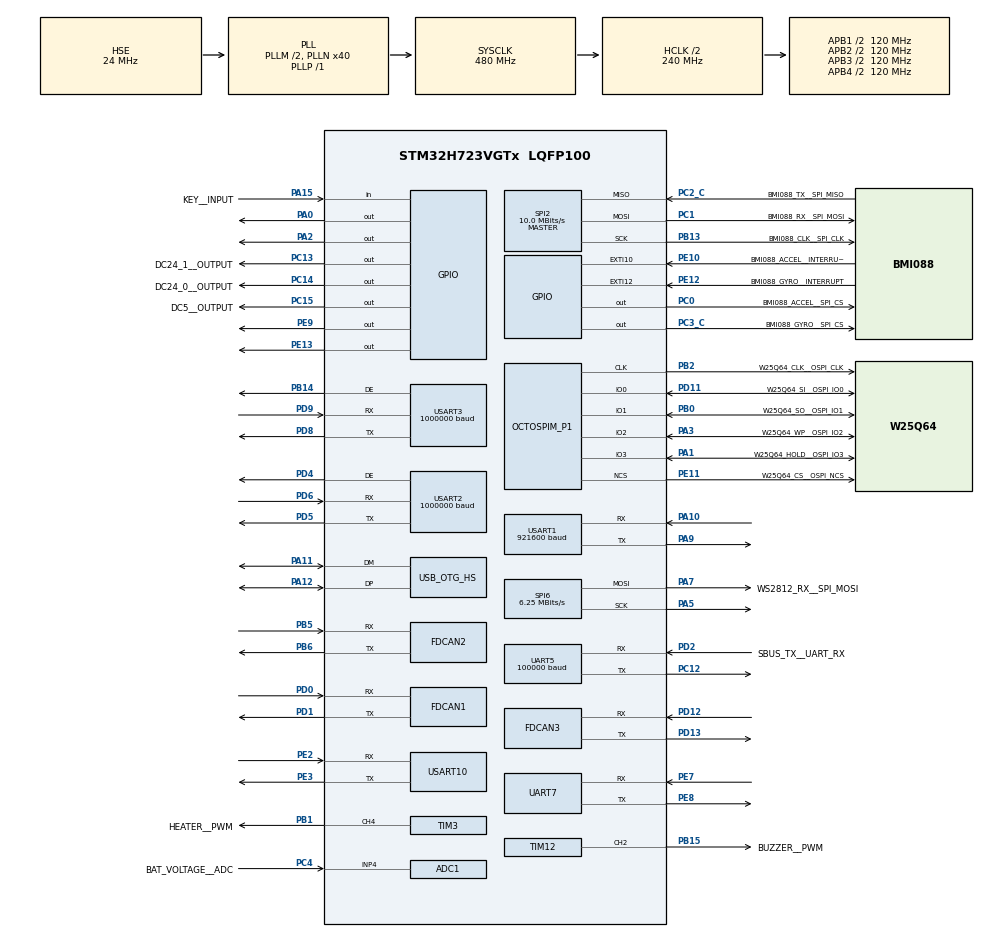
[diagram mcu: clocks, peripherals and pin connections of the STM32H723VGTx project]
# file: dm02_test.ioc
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ADC1.Channel-0\#ChannelRegularConversion=ADC_CHANNEL_4
ADC1.ClockPrescaler=ADC_CLOCK_ASYNC_DIV128
ADC1.ContinuousConvMode=ENABLE
ADC1.ConversionDataManagement=ADC_CONVERSIONDATA_DMA_CIRCULAR
ADC1.NbrOfConversion=1
ADC1.NbrOfConversionFlag=1
ADC1.OffsetNumber-0\#ChannelRegularConversion=ADC_OFFSET_NONE
ADC1.OffsetSignedSaturation-0\#ChannelRegularConversion=DISABLE
ADC1.Rank-0\#ChannelRegularConversion=1
ADC1.SamplingTime-0\#ChannelRegularConversion=ADC_SAMPLETIME_32CYCLES_5
ADC1.master=1
CORTEX_M7.BaseAddress_Spec=0x24000000
CORTEX_M7.CPU_DCache=Disabled
CORTEX_M7.CPU_ICache=Enabled
CORTEX_M7.DisableExec_Spec=MPU_INSTRUCTION_ACCESS_ENABLE
CORTEX_M7.IsBufferable_Spec=MPU_ACCESS_BUFFERABLE
CORTEX_M7.IsCacheable_Spec=MPU_ACCESS_CACHEABLE
CORTEX_M7.IsShareable_Spec=MPU_ACCESS_NOT_SHAREABLE
CORTEX_M7.MPU_Control=__NULL
CORTEX_M7.Size_Spec=MPU_REGION_SIZE_512KB
CORTEX_M7.SubRegionDisable_Spec=0x0
CORTEX_M7.TypeExtField_Spec=MPU_TEX_LEVEL1
CORTEX_M7.default_mode_Activation=1
Dma.ADC1.13.Direction=DMA_PERIPH_TO_MEMORY
Dma.ADC1.13.EventEnable=DISABLE
Dma.ADC1.13.FIFOMode=DMA_FIFOMODE_DISABLE
Dma.ADC1.13.Instance=DMA2_Stream5
Dma.ADC1.13.MemDataAlignment=DMA_MDATAALIGN_HALFWORD
Dma.ADC1.13.MemInc=DMA_MINC_ENABLE
Dma.ADC1.13.Mode=DMA_CIRCULAR
Dma.ADC1.13.PeriphDataAlignment=DMA_PDATAALIGN_HALFWORD
Dma.ADC1.13.PeriphInc=DMA_PINC_DISABLE
Dma.ADC1.13.Polarity=HAL_DMAMUX_REQ_GEN_RISING
Dma.ADC1.13.Priority=DMA_PRIORITY_LOW
Dma.ADC1.13.RequestNumber=1
Dma.ADC1.13.SignalID=NONE
Dma.ADC1.13.SyncEnable=DISABLE
Dma.ADC1.13.SyncPolarity=HAL_DMAMUX_SYNC_NO_EVENT
Dma.ADC1.13.SyncRequestNumber=1
Dma.ADC1.13.SyncSignalID=NONE
Dma.Request0=USART2_RX
Dma.Request1=USART2_TX
Dma.Request10=USART10_TX
Dma.Request11=SPI2_RX
Dma.Request12=SPI2_TX
Dma.Request13=ADC1
Dma.Request2=USART3_RX
Dma.Request3=USART3_TX
Dma.Request4=UART5_RX
Dma.Request5=USART1_RX
Dma.Request6=USART1_TX
Dma.Request7=UART7_RX
Dma.Request8=UART7_TX
Dma.Request9=USART10_RX
Dma.SPI2_RX.11.Direction=DMA_PERIPH_TO_MEMORY
Dma.SPI2_RX.11.EventEnable=DISABLE
Dma.SPI2_RX.11.FIFOMode=DMA_FIFOMODE_ENABLE
Dma.SPI2_RX.11.FIFOThreshold=DMA_FIFO_THRESHOLD_FULL
Dma.SPI2_RX.11.Instance=DMA2_Stream3
Dma.SPI2_RX.11.MemBurst=DMA_MBURST_SINGLE
Dma.SPI2_RX.11.MemDataAlignment=DMA_MDATAALIGN_BYTE
Dma.SPI2_RX.11.MemInc=DMA_MINC_ENABLE
Dma.SPI2_RX.11.Mode=DMA_NORMAL
Dma.SPI2_RX.11.PeriphBurst=DMA_PBURST_SINGLE
Dma.SPI2_RX.11.PeriphDataAlignment=DMA_PDATAALIGN_BYTE
Dma.SPI2_RX.11.PeriphInc=DMA_PINC_DISABLE
Dma.SPI2_RX.11.Polarity=HAL_DMAMUX_REQ_GEN_RISING
Dma.SPI2_RX.11.Priority=DMA_PRIORITY_LOW
Dma.SPI2_RX.11.RequestNumber=1
Dma.SPI2_RX.11.SignalID=NONE
Dma.SPI2_RX.11.SyncEnable=DISABLE
Dma.SPI2_RX.11.SyncPolarity=HAL_DMAMUX_SYNC_NO_EVENT
Dma.SPI2_RX.11.SyncRequestNumber=1
Dma.SPI2_RX.11.SyncSignalID=NONE
Dma.SPI2_TX.12.Direction=DMA_MEMORY_TO_PERIPH
Dma.SPI2_TX.12.EventEnable=DISABLE
Dma.SPI2_TX.12.FIFOMode=DMA_FIFOMODE_DISABLE
Dma.SPI2_TX.12.Instance=DMA2_Stream4
Dma.SPI2_TX.12.MemDataAlignment=DMA_MDATAALIGN_BYTE
Dma.SPI2_TX.12.MemInc=DMA_MINC_ENABLE
Dma.SPI2_TX.12.Mode=DMA_NORMAL
Dma.SPI2_TX.12.PeriphDataAlignment=DMA_PDATAALIGN_BYTE
Dma.SPI2_TX.12.PeriphInc=DMA_PINC_DISABLE
Dma.SPI2_TX.12.Polarity=HAL_DMAMUX_REQ_GEN_RISING
Dma.SPI2_TX.12.Priority=DMA_PRIORITY_LOW
Dma.SPI2_TX.12.RequestNumber=1
Dma.SPI2_TX.12.SignalID=NONE
Dma.SPI2_TX.12.SyncEnable=DISABLE
Dma.SPI2_TX.12.SyncPolarity=HAL_DMAMUX_SYNC_NO_EVENT
Dma.SPI2_TX.12.SyncRequestNumber=1
Dma.SPI2_TX.12.SyncSignalID=NONE
Dma.UART5_RX.4.Direction=DMA_PERIPH_TO_MEMORY
Dma.UART5_RX.4.EventEnable=DISABLE
Dma.UART5_RX.4.FIFOMode=DMA_FIFOMODE_ENABLE
Dma.UART5_RX.4.FIFOThreshold=DMA_FIFO_THRESHOLD_FULL
Dma.UART5_RX.4.Instance=DMA1_Stream4
Dma.UART5_RX.4.MemBurst=DMA_MBURST_SINGLE
Dma.UART5_RX.4.MemDataAlignment=DMA_MDATAALIGN_BYTE
Dma.UART5_RX.4.MemInc=DMA_MINC_ENABLE
Dma.UART5_RX.4.Mode=DMA_NORMAL
Dma.UART5_RX.4.PeriphBurst=DMA_PBURST_SINGLE
Dma.UART5_RX.4.PeriphDataAlignment=DMA_PDATAALIGN_BYTE
Dma.UART5_RX.4.PeriphInc=DMA_PINC_DISABLE
Dma.UART5_RX.4.Polarity=HAL_DMAMUX_REQ_GEN_RISING
Dma.UART5_RX.4.Priority=DMA_PRIORITY_LOW
Dma.UART5_RX.4.RequestNumber=1
Dma.UART5_RX.4.SignalID=NONE
Dma.UART5_RX.4.SyncEnable=DISABLE
Dma.UART5_RX.4.SyncPolarity=HAL_DMAMUX_SYNC_NO_EVENT
Dma.UART5_RX.4.SyncRequestNumber=1
Dma.UART5_RX.4.SyncSignalID=NONE
Dma.UART7_RX.7.Direction=DMA_PERIPH_TO_MEMORY
Dma.UART7_RX.7.EventEnable=DISABLE
Dma.UART7_RX.7.FIFOMode=DMA_FIFOMODE_ENABLE
Dma.UART7_RX.7.FIFOThreshold=DMA_FIFO_THRESHOLD_FULL
Dma.UART7_RX.7.Instance=DMA1_Stream7
Dma.UART7_RX.7.MemBurst=DMA_MBURST_SINGLE
Dma.UART7_RX.7.MemDataAlignment=DMA_MDATAALIGN_BYTE
Dma.UART7_RX.7.MemInc=DMA_MINC_ENABLE
Dma.UART7_RX.7.Mode=DMA_NORMAL
Dma.UART7_RX.7.PeriphBurst=DMA_PBURST_SINGLE
Dma.UART7_RX.7.PeriphDataAlignment=DMA_PDATAALIGN_BYTE
Dma.UART7_RX.7.PeriphInc=DMA_PINC_DISABLE
Dma.UART7_RX.7.Polarity=HAL_DMAMUX_REQ_GEN_RISING
Dma.UART7_RX.7.Priority=DMA_PRIORITY_LOW
Dma.UART7_RX.7.RequestNumber=1
Dma.UART7_RX.7.SignalID=NONE
Dma.UART7_RX.7.SyncEnable=DISABLE
Dma.UART7_RX.7.SyncPolarity=HAL_DMAMUX_SYNC_NO_EVENT
Dma.UART7_RX.7.SyncRequestNumber=1
Dma.UART7_RX.7.SyncSignalID=NONE
Dma.UART7_TX.8.Direction=DMA_MEMORY_TO_PERIPH
Dma.UART7_TX.8.EventEnable=DISABLE
Dma.UART7_TX.8.FIFOMode=DMA_FIFOMODE_ENABLE
Dma.UART7_TX.8.FIFOThreshold=DMA_FIFO_THRESHOLD_FULL
Dma.UART7_TX.8.Instance=DMA2_Stream0
Dma.UART7_TX.8.MemBurst=DMA_MBURST_SINGLE
Dma.UART7_TX.8.MemDataAlignment=DMA_MDATAALIGN_BYTE
Dma.UART7_TX.8.MemInc=DMA_MINC_ENABLE
Dma.UART7_TX.8.Mode=DMA_NORMAL
Dma.UART7_TX.8.PeriphBurst=DMA_PBURST_SINGLE
Dma.UART7_TX.8.PeriphDataAlignment=DMA_PDATAALIGN_BYTE
Dma.UART7_TX.8.PeriphInc=DMA_PINC_DISABLE
Dma.UART7_TX.8.Polarity=HAL_DMAMUX_REQ_GEN_RISING
Dma.UART7_TX.8.Priority=DMA_PRIORITY_LOW
Dma.UART7_TX.8.RequestNumber=1
Dma.UART7_TX.8.SignalID=NONE
Dma.UART7_TX.8.SyncEnable=DISABLE
Dma.UART7_TX.8.SyncPolarity=HAL_DMAMUX_SYNC_NO_EVENT
Dma.UART7_TX.8.SyncRequestNumber=1
Dma.UART7_TX.8.SyncSignalID=NONE
Dma.USART10_RX.9.Direction=DMA_PERIPH_TO_MEMORY
Dma.USART10_RX.9.EventEnable=DISABLE
Dma.USART10_RX.9.FIFOMode=DMA_FIFOMODE_DISABLE
Dma.USART10_RX.9.Instance=DMA2_Stream1
Dma.USART10_RX.9.MemDataAlignment=DMA_MDATAALIGN_BYTE
Dma.USART10_RX.9.MemInc=DMA_MINC_ENABLE
Dma.USART10_RX.9.Mode=DMA_NORMAL
Dma.USART10_RX.9.PeriphDataAlignment=DMA_PDATAALIGN_BYTE
Dma.USART10_RX.9.PeriphInc=DMA_PINC_DISABLE
Dma.USART10_RX.9.Polarity=HAL_DMAMUX_REQ_GEN_RISING
Dma.USART10_RX.9.Priority=DMA_PRIORITY_LOW
Dma.USART10_RX.9.RequestNumber=1
Dma.USART10_RX.9.SignalID=NONE
Dma.USART10_RX.9.SyncEnable=DISABLE
Dma.USART10_RX.9.SyncPolarity=HAL_DMAMUX_SYNC_NO_EVENT
Dma.USART10_RX.9.SyncRequestNumber=1
Dma.USART10_RX.9.SyncSignalID=NONE
Dma.USART10_TX.10.Direction=DMA_MEMORY_TO_PERIPH
Dma.USART10_TX.10.EventEnable=DISABLE
Dma.USART10_TX.10.FIFOMode=DMA_FIFOMODE_DISABLE
Dma.USART10_TX.10.Instance=DMA2_Stream2
Dma.USART10_TX.10.MemDataAlignment=DMA_MDATAALIGN_BYTE
Dma.USART10_TX.10.MemInc=DMA_MINC_ENABLE
Dma.USART10_TX.10.Mode=DMA_NORMAL
Dma.USART10_TX.10.PeriphDataAlignment=DMA_PDATAALIGN_BYTE
Dma.USART10_TX.10.PeriphInc=DMA_PINC_DISABLE
Dma.USART10_TX.10.Polarity=HAL_DMAMUX_REQ_GEN_RISING
Dma.USART10_TX.10.Priority=DMA_PRIORITY_LOW
Dma.USART10_TX.10.RequestNumber=1
Dma.USART10_TX.10.SignalID=NONE
Dma.USART10_TX.10.SyncEnable=DISABLE
Dma.USART10_TX.10.SyncPolarity=HAL_DMAMUX_SYNC_NO_EVENT
Dma.USART10_TX.10.SyncRequestNumber=1
Dma.USART10_TX.10.SyncSignalID=NONE
Dma.USART1_RX.5.Direction=DMA_PERIPH_TO_MEMORY
Dma.USART1_RX.5.EventEnable=DISABLE
Dma.USART1_RX.5.FIFOMode=DMA_FIFOMODE_ENABLE
Dma.USART1_RX.5.FIFOThreshold=DMA_FIFO_THRESHOLD_FULL
Dma.USART1_RX.5.Instance=DMA1_Stream5
Dma.USART1_RX.5.MemBurst=DMA_MBURST_SINGLE
Dma.USART1_RX.5.MemDataAlignment=DMA_MDATAALIGN_BYTE
Dma.USART1_RX.5.MemInc=DMA_MINC_ENABLE
Dma.USART1_RX.5.Mode=DMA_NORMAL
Dma.USART1_RX.5.PeriphBurst=DMA_PBURST_SINGLE
Dma.USART1_RX.5.PeriphDataAlignment=DMA_PDATAALIGN_BYTE
Dma.USART1_RX.5.PeriphInc=DMA_PINC_DISABLE
Dma.USART1_RX.5.Polarity=HAL_DMAMUX_REQ_GEN_RISING
Dma.USART1_RX.5.Priority=DMA_PRIORITY_LOW
Dma.USART1_RX.5.RequestNumber=1
Dma.USART1_RX.5.SignalID=NONE
Dma.USART1_RX.5.SyncEnable=DISABLE
Dma.USART1_RX.5.SyncPolarity=HAL_DMAMUX_SYNC_NO_EVENT
Dma.USART1_RX.5.SyncRequestNumber=1
Dma.USART1_RX.5.SyncSignalID=NONE
Dma.USART1_TX.6.Direction=DMA_MEMORY_TO_PERIPH
Dma.USART1_TX.6.EventEnable=DISABLE
Dma.USART1_TX.6.FIFOMode=DMA_FIFOMODE_ENABLE
Dma.USART1_TX.6.FIFOThreshold=DMA_FIFO_THRESHOLD_FULL
Dma.USART1_TX.6.Instance=DMA1_Stream6
Dma.USART1_TX.6.MemBurst=DMA_MBURST_SINGLE
Dma.USART1_TX.6.MemDataAlignment=DMA_MDATAALIGN_BYTE
Dma.USART1_TX.6.MemInc=DMA_MINC_ENABLE
Dma.USART1_TX.6.Mode=DMA_NORMAL
Dma.USART1_TX.6.PeriphBurst=DMA_PBURST_SINGLE
Dma.USART1_TX.6.PeriphDataAlignment=DMA_PDATAALIGN_BYTE
Dma.USART1_TX.6.PeriphInc=DMA_PINC_DISABLE
Dma.USART1_TX.6.Polarity=HAL_DMAMUX_REQ_GEN_RISING
Dma.USART1_TX.6.Priority=DMA_PRIORITY_LOW
Dma.USART1_TX.6.RequestNumber=1
Dma.USART1_TX.6.SignalID=NONE
Dma.USART1_TX.6.SyncEnable=DISABLE
Dma.USART1_TX.6.SyncPolarity=HAL_DMAMUX_SYNC_NO_EVENT
Dma.USART1_TX.6.SyncRequestNumber=1
Dma.USART1_TX.6.SyncSignalID=NONE
Dma.USART2_RX.0.Direction=DMA_PERIPH_TO_MEMORY
Dma.USART2_RX.0.EventEnable=DISABLE
Dma.USART2_RX.0.FIFOMode=DMA_FIFOMODE_ENABLE
Dma.USART2_RX.0.FIFOThreshold=DMA_FIFO_THRESHOLD_FULL
Dma.USART2_RX.0.Instance=DMA1_Stream1
Dma.USART2_RX.0.MemBurst=DMA_MBURST_SINGLE
Dma.USART2_RX.0.MemDataAlignment=DMA_MDATAALIGN_BYTE
Dma.USART2_RX.0.MemInc=DMA_MINC_ENABLE
Dma.USART2_RX.0.Mode=DMA_NORMAL
Dma.USART2_RX.0.PeriphBurst=DMA_PBURST_SINGLE
Dma.USART2_RX.0.PeriphDataAlignment=DMA_PDATAALIGN_BYTE
Dma.USART2_RX.0.PeriphInc=DMA_PINC_DISABLE
Dma.USART2_RX.0.Polarity=HAL_DMAMUX_REQ_GEN_RISING
Dma.USART2_RX.0.Priority=DMA_PRIORITY_LOW
Dma.USART2_RX.0.RequestNumber=1
Dma.USART2_RX.0.SignalID=NONE
Dma.USART2_RX.0.SyncEnable=DISABLE
Dma.USART2_RX.0.SyncPolarity=HAL_DMAMUX_SYNC_NO_EVENT
Dma.USART2_RX.0.SyncRequestNumber=1
Dma.USART2_RX.0.SyncSignalID=NONE
Dma.USART2_TX.1.Direction=DMA_MEMORY_TO_PERIPH
Dma.USART2_TX.1.EventEnable=DISABLE
Dma.USART2_TX.1.FIFOMode=DMA_FIFOMODE_ENABLE
Dma.USART2_TX.1.FIFOThreshold=DMA_FIFO_THRESHOLD_FULL
Dma.USART2_TX.1.Instance=DMA1_Stream0
Dma.USART2_TX.1.MemBurst=DMA_MBURST_SINGLE
Dma.USART2_TX.1.MemDataAlignment=DMA_MDATAALIGN_BYTE
Dma.USART2_TX.1.MemInc=DMA_MINC_ENABLE
Dma.USART2_TX.1.Mode=DMA_NORMAL
Dma.USART2_TX.1.PeriphBurst=DMA_PBURST_SINGLE
Dma.USART2_TX.1.PeriphDataAlignment=DMA_PDATAALIGN_BYTE
Dma.USART2_TX.1.PeriphInc=DMA_PINC_DISABLE
Dma.USART2_TX.1.Polarity=HAL_DMAMUX_REQ_GEN_RISING
Dma.USART2_TX.1.Priority=DMA_PRIORITY_LOW
Dma.USART2_TX.1.RequestNumber=1
Dma.USART2_TX.1.SignalID=NONE
Dma.USART2_TX.1.SyncEnable=DISABLE
Dma.USART2_TX.1.SyncPolarity=HAL_DMAMUX_SYNC_NO_EVENT
Dma.USART2_TX.1.SyncRequestNumber=1
Dma.USART2_TX.1.SyncSignalID=NONE
Dma.USART3_RX.2.Direction=DMA_PERIPH_TO_MEMORY
Dma.USART3_RX.2.EventEnable=DISABLE
Dma.USART3_RX.2.FIFOMode=DMA_FIFOMODE_ENABLE
Dma.USART3_RX.2.FIFOThreshold=DMA_FIFO_THRESHOLD_FULL
Dma.USART3_RX.2.Instance=DMA1_Stream2
Dma.USART3_RX.2.MemBurst=DMA_MBURST_SINGLE
Dma.USART3_RX.2.MemDataAlignment=DMA_MDATAALIGN_BYTE
Dma.USART3_RX.2.MemInc=DMA_MINC_ENABLE
Dma.USART3_RX.2.Mode=DMA_NORMAL
Dma.USART3_RX.2.PeriphBurst=DMA_PBURST_SINGLE
Dma.USART3_RX.2.PeriphDataAlignment=DMA_PDATAALIGN_BYTE
Dma.USART3_RX.2.PeriphInc=DMA_PINC_DISABLE
Dma.USART3_RX.2.Polarity=HAL_DMAMUX_REQ_GEN_RISING
Dma.USART3_RX.2.Priority=DMA_PRIORITY_LOW
Dma.USART3_RX.2.RequestNumber=1
Dma.USART3_RX.2.SignalID=NONE
Dma.USART3_RX.2.SyncEnable=DISABLE
Dma.USART3_RX.2.SyncPolarity=HAL_DMAMUX_SYNC_NO_EVENT
Dma.USART3_RX.2.SyncRequestNumber=1
Dma.USART3_RX.2.SyncSignalID=NONE
Dma.USART3_TX.3.Direction=DMA_MEMORY_TO_PERIPH
Dma.USART3_TX.3.EventEnable=DISABLE
Dma.USART3_TX.3.FIFOMode=DMA_FIFOMODE_ENABLE
Dma.USART3_TX.3.FIFOThreshold=DMA_FIFO_THRESHOLD_FULL
Dma.USART3_TX.3.Instance=DMA1_Stream3
Dma.USART3_TX.3.MemBurst=DMA_MBURST_SINGLE
Dma.USART3_TX.3.MemDataAlignment=DMA_MDATAALIGN_BYTE
Dma.USART3_TX.3.MemInc=DMA_MINC_ENABLE
Dma.USART3_TX.3.Mode=DMA_NORMAL
Dma.USART3_TX.3.PeriphBurst=DMA_PBURST_SINGLE
Dma.USART3_TX.3.PeriphDataAlignment=DMA_PDATAALIGN_BYTE
Dma.USART3_TX.3.PeriphInc=DMA_PINC_DISABLE
Dma.USART3_TX.3.Polarity=HAL_DMAMUX_REQ_GEN_RISING
Dma.USART3_TX.3.Priority=DMA_PRIORITY_LOW
Dma.USART3_TX.3.RequestNumber=1
Dma.USART3_TX.3.SignalID=NONE
Dma.USART3_TX.3.SyncEnable=DISABLE
Dma.USART3_TX.3.SyncPolarity=HAL_DMAMUX_SYNC_NO_EVENT
Dma.USART3_TX.3.SyncRequestNumber=1
Dma.USART3_TX.3.SyncSignalID=NONE
FDCAN1.AutoRetransmission=ENABLE
FDCAN1.CalculateBaudRateNominal=1000000
FDCAN1.CalculateTimeBitNominal=1000
FDCAN1.CalculateTimeQuantumNominal=25.0
FDCAN1.DataPrescaler=3
FDCAN1.DataSyncJumpWidth=10
FDCAN1.DataTimeSeg1=29
FDCAN1.DataTimeSeg2=10
FDCAN1.NominalPrescaler=3
FDCAN1.NominalSyncJumpWidth=10
FDCAN1.NominalTimeSeg1=29
FDCAN1.NominalTimeSeg2=10
FDCAN1.ProtocolException=DISABLE
FDCAN1.RxFifo0ElmtsNbr=16
FDCAN1.RxFifo1ElmtsNbr=0
FDCAN1.StdFiltersNbr=1
FDCAN1.TxFifoQueueElmtsNbr=8
FDCAN2.AutoRetransmission=ENABLE
FDCAN2.CalculateBaudRateNominal=1000000
FDCAN2.CalculateTimeBitNominal=1000
FDCAN2.CalculateTimeQuantumNominal=25.0
FDCAN2.DataPrescaler=3
FDCAN2.DataSyncJumpWidth=10
FDCAN2.DataTimeSeg1=29
FDCAN2.DataTimeSeg2=10
FDCAN2.MessageRAMOffset=853
FDCAN2.NominalPrescaler=3
FDCAN2.NominalSyncJumpWidth=10
FDCAN2.NominalTimeSeg1=29
FDCAN2.NominalTimeSeg2=10
FDCAN2.RxFifo0ElmtsNbr=16
FDCAN2.RxFifo1ElmtsNbr=0
FDCAN2.StdFiltersNbr=1
FDCAN2.TxFifoQueueElmtsNbr=8
FDCAN3.AutoRetransmission=ENABLE
FDCAN3.CalculateBaudRateNominal=1000000
FDCAN3.CalculateTimeBitNominal=1000
FDCAN3.CalculateTimeQuantumNominal=25.0
FDCAN3.DataPrescaler=3
FDCAN3.DataSyncJumpWidth=10
FDCAN3.DataTimeSeg1=29
FDCAN3.DataTimeSeg2=10
FDCAN3.MessageRAMOffset=1706
FDCAN3.NominalPrescaler=3
FDCAN3.NominalSyncJumpWidth=10
FDCAN3.NominalTimeSeg1=29
FDCAN3.NominalTimeSeg2=10
FDCAN3.RxFifo0ElmtsNbr=16
FDCAN3.RxFifo1ElmtsNbr=0
FDCAN3.StdFiltersNbr=1
FDCAN3.TxFifoQueueElmtsNbr=8
FREERTOS.Tasks01=MAVLinkTask,24,512,StartMAVLinkTask,Default,NULL,Dynamic,NULL,NULL;ClimbingTask,24,512,StartTaskClimbing,Default,NULL,Dynamic,NULL,NULL;DrawKFSTask,24,512,StartTaskDrawKFS,Default,NULL,Dynamic,NULL,NULL;ClampingTask,24,128,StartTaskClamping,Default,NULL,Dynamic,NULL,NULL;ChassisTask,24,512,StartTaskChassis,Default,NULL,Dynamic,NULL,NULL
IWDG1.Prescaler=IWDG_PRESCALER_256
IWDG1.Reload=1023
IWDG1.Window=1023
Mcu.Family=STM32H7
Mcu.Name=STM32H723VGTx
Mcu.Package=LQFP100
Mdma.MDMA_Channel0.OCTOSPI2_FIFO_TH.0.BlockCount=0
Mdma.MDMA_Channel0.OCTOSPI2_FIFO_TH.0.BlockDataLength=0
Mdma.MDMA_Channel0.OCTOSPI2_FIFO_TH.0.BufferTransferLength=1
Mdma.MDMA_Channel0.OCTOSPI2_FIFO_TH.0.CircularMode=MDMA_LINEAR_LIST
Mdma.MDMA_Channel0.OCTOSPI2_FIFO_TH.0.DataAlignment=MDMA_DATAALIGN_PACKENABLE
Mdma.MDMA_Channel0.OCTOSPI2_FIFO_TH.0.DestBlockAddressOffset=0
Mdma.MDMA_Channel0.OCTOSPI2_FIFO_TH.0.DestBurst=MDMA_DEST_BURST_SINGLE
Mdma.MDMA_Channel0.OCTOSPI2_FIFO_TH.0.DestDataSize=MDMA_DEST_DATASIZE_BYTE
Mdma.MDMA_Channel0.OCTOSPI2_FIFO_TH.0.DestinationInc=MDMA_DEST_INC_BYTE
Mdma.MDMA_Channel0.OCTOSPI2_FIFO_TH.0.DstAddress=0
Mdma.MDMA_Channel0.OCTOSPI2_FIFO_TH.0.Endianness=MDMA_LITTLE_ENDIANNESS_PRESERVE
Mdma.MDMA_Channel0.OCTOSPI2_FIFO_TH.0.Instance=MDMA_Channel0
Mdma.MDMA_Channel0.OCTOSPI2_FIFO_TH.0.MaskAddress=0
Mdma.MDMA_Channel0.OCTOSPI2_FIFO_TH.0.MaskData=0
Mdma.MDMA_Channel0.OCTOSPI2_FIFO_TH.0.Priority=MDMA_PRIORITY_LOW
Mdma.MDMA_Channel0.OCTOSPI2_FIFO_TH.0.Rank=First
Mdma.MDMA_Channel0.OCTOSPI2_FIFO_TH.0.SourceBlockAddressOffset=0
Mdma.MDMA_Channel0.OCTOSPI2_FIFO_TH.0.SourceBurst=MDMA_SOURCE_BURST_SINGLE
Mdma.MDMA_Channel0.OCTOSPI2_FIFO_TH.0.SourceDataSize=MDMA_SRC_DATASIZE_BYTE
Mdma.MDMA_Channel0.OCTOSPI2_FIFO_TH.0.SourceInc=MDMA_SRC_INC_BYTE
Mdma.MDMA_Channel0.OCTOSPI2_FIFO_TH.0.SrcAddress=0
Mdma.MDMA_Channel0.OCTOSPI2_FIFO_TH.0.TransferTriggerMode=MDMA_BUFFER_TRANSFER
Mdma.MDMA_Channel0.Request0=OCTOSPI2_FIFO_TH
Mdma.MDMA_Channel0.RequestsNb=1
Mdma.RequestSet0=MDMA_Channel0
Mdma.RequestSetsNb=1
NVIC.DMA1_Stream0_IRQn=true\:5\:0\:false\:false\:true\:true\:false\:true\:true
NVIC.DMA1_Stream1_IRQn=true\:5\:0\:false\:false\:true\:true\:false\:true\:true
NVIC.DMA1_Stream2_IRQn=true\:5\:0\:false\:false\:true\:true\:false\:true\:true
NVIC.DMA1_Stream3_IRQn=true\:5\:0\:false\:false\:true\:true\:false\:true\:true
NVIC.DMA1_Stream4_IRQn=true\:5\:0\:false\:false\:true\:true\:false\:true\:true
NVIC.DMA1_Stream5_IRQn=true\:5\:0\:false\:false\:true\:true\:false\:true\:true
NVIC.DMA1_Stream6_IRQn=true\:5\:0\:false\:false\:true\:true\:false\:true\:true
NVIC.DMA1_Stream7_IRQn=true\:5\:0\:false\:false\:true\:true\:false\:true\:true
NVIC.DMA2_Stream0_IRQn=true\:5\:0\:false\:false\:true\:true\:false\:true\:true
NVIC.DMA2_Stream1_IRQn=true\:5\:0\:false\:false\:true\:true\:false\:true\:true
NVIC.DMA2_Stream2_IRQn=true\:5\:0\:false\:false\:true\:true\:false\:true\:true
NVIC.DMA2_Stream3_IRQn=true\:5\:0\:false\:false\:true\:true\:false\:true\:true
NVIC.DMA2_Stream4_IRQn=true\:5\:0\:false\:false\:true\:true\:false\:true\:true
NVIC.DMA2_Stream5_IRQn=true\:5\:0\:false\:false\:true\:true\:false\:true\:true
NVIC.EXTI15_10_IRQn=true\:5\:0\:true\:false\:true\:true\:true\:true\:true
NVIC.FDCAN1_IT0_IRQn=true\:5\:0\:false\:false\:true\:true\:true\:true\:true
NVIC.FDCAN1_IT1_IRQn=true\:5\:0\:false\:false\:true\:true\:true\:true\:true
NVIC.FDCAN2_IT0_IRQn=true\:5\:0\:false\:false\:true\:true\:true\:true\:true
NVIC.FDCAN2_IT1_IRQn=true\:5\:0\:false\:false\:true\:true\:true\:true\:true
NVIC.FDCAN3_IT0_IRQn=true\:5\:0\:false\:false\:true\:true\:true\:true\:true
NVIC.FDCAN3_IT1_IRQn=true\:5\:0\:false\:false\:true\:true\:true\:true\:true
NVIC.MDMA_IRQn=true\:5\:0\:false\:false\:true\:true\:false\:true\:true
NVIC.OCTOSPI2_IRQn=true\:5\:0\:false\:false\:true\:true\:true\:true\:true
NVIC.OTG_HS_IRQn=true\:5\:0\:false\:false\:true\:true\:false\:true\:true
NVIC.PriorityGroup=NVIC_PRIORITYGROUP_4
NVIC.SPI2_IRQn=true\:5\:0\:false\:false\:true\:true\:false\:true\:true
NVIC.TIM4_IRQn=true\:5\:0\:true\:false\:true\:true\:true\:true\:true
NVIC.TIM5_IRQn=true\:5\:0\:true\:false\:true\:true\:true\:true\:true
NVIC.TIM6_DAC_IRQn=true\:5\:0\:true\:false\:true\:true\:true\:true\:true
NVIC.TIM7_IRQn=true\:5\:0\:true\:false\:true\:true\:true\:true\:true
NVIC.TIM8_UP_TIM13_IRQn=true\:5\:0\:true\:false\:true\:true\:true\:true\:true
NVIC.UART5_IRQn=true\:5\:0\:true\:false\:true\:true\:true\:true\:true
NVIC.UART7_IRQn=true\:5\:0\:true\:false\:true\:true\:true\:true\:true
NVIC.USART10_IRQn=true\:0\:0\:true\:false\:true\:true\:true\:true\:true
NVIC.USART1_IRQn=true\:5\:0\:true\:false\:true\:true\:true\:true\:true
NVIC.USART2_IRQn=true\:5\:0\:true\:false\:true\:true\:true\:true\:true
NVIC.USART3_IRQn=true\:5\:0\:true\:false\:true\:true\:true\:true\:true
OCTOSPI2.ClockMode=HAL_OSPI_CLOCK_MODE_3
OCTOSPI2.ClockPrescaler=2
OCTOSPI2.DeviceSize=23
OCTOSPI2.FifoThreshold=1
OCTOSPI2.SampleShifting=HAL_OSPI_SAMPLE_SHIFTING_HALFCYCLE
PA0.Signal=GPIO_Output
PA1.GPIO_Label=W25Q64_HOLD__OSPI_IO3
PA1.Mode=OCTOSPI2_IOL_Port1L
PA1.Signal=OCTOSPIM_P1_IO3
PA10.Mode=Asynchronous
PA10.Signal=USART1_RX
PA11.Mode=Device_Only_FS
PA11.Signal=USB_OTG_HS_DM
PA12.Mode=Device_Only_FS
PA12.Signal=USB_OTG_HS_DP
PA13(JTMS/SWDIO).Mode=Serial_Wire
PA13(JTMS/SWDIO).Signal=DEBUG_JTMS-SWDIO
PA14(JTCK/SWCLK).Mode=Serial_Wire
PA14(JTCK/SWCLK).Signal=DEBUG_JTCK-SWCLK
PA15(JTDI).GPIO_Label=KEY__INPUT
PA15(JTDI).Signal=GPIO_Input
PA2.Signal=GPIO_Output
PA3.GPIO_Label=W25Q64_WP__OSPI_IO2
PA3.Mode=OCTOSPI2_IOL_Port1L
PA3.Signal=OCTOSPIM_P1_IO2
PA5.GPIO_Speed=GPIO_SPEED_FREQ_VERY_HIGH
PA5.Mode=TX_Only_Simplex_Unidirect_Master
PA5.Signal=SPI6_SCK
PA7.GPIO_Label=WS2812_RX__SPI_MOSI
PA7.GPIO_Speed=GPIO_SPEED_FREQ_VERY_HIGH
PA7.Mode=TX_Only_Simplex_Unidirect_Master
PA7.Signal=SPI6_MOSI
PA9.Mode=Asynchronous
PA9.Signal=USART1_TX
PB0.GPIO_Label=W25Q64_SO__OSPI_IO1
PB0.Mode=OCTOSPI2_IOL_Port1L
PB0.Signal=OCTOSPIM_P1_IO1
PB1.GPIO_Label=HEATER__PWM
PB1.Signal=S_TIM3_CH4
PB13.GPIO_Label=BMI088_CLK__SPI_CLK
PB13.GPIO_Speed=GPIO_SPEED_FREQ_VERY_HIGH
PB13.Mode=Full_Duplex_Master
PB13.Signal=SPI2_SCK
PB14.Mode=Hardware Flow Control (RS485)
PB14.Signal=USART3_DE
PB15.GPIO_Label=BUZZER__PWM
PB15.Signal=S_TIM12_CH2
PB2.GPIO_Label=W25Q64_CLK__OSPI_CLK
PB2.Mode=O2_P1_CLK
PB2.Signal=OCTOSPIM_P1_CLK
PB5.Mode=FDCAN_Activate
PB5.Signal=FDCAN2_RX
PB6.Mode=FDCAN_Activate
PB6.Signal=FDCAN2_TX
PC0.GPIO_Label=BMI088_ACCEL__SPI_CS
PC0.GPIO_Speed=GPIO_SPEED_FREQ_VERY_HIGH
PC0.PinState=GPIO_PIN_SET
PC0.Signal=GPIO_Output
PC1.GPIO_Label=BMI088_RX__SPI_MOSI
PC1.GPIO_Speed=GPIO_SPEED_FREQ_VERY_HIGH
PC1.Mode=Full_Duplex_Master
PC1.Signal=SPI2_MOSI
PC12.Mode=Asynchronous
PC12.Signal=UART5_TX
PC13.GPIO_Label=DC24_1__OUTPUT
PC13.PinState=GPIO_PIN_RESET
PC13.Signal=GPIO_Output
PC14-OSC32_IN.GPIO_Label=DC24_0__OUTPUT
PC14-OSC32_IN.Signal=GPIO_Output
PC15-OSC32_OUT.GPIO_Label=DC5__OUTPUT
PC15-OSC32_OUT.PinState=GPIO_PIN_RESET
PC15-OSC32_OUT.Signal=GPIO_Output
PC2_C.GPIO_Label=BMI088_TX__SPI_MISO
PC2_C.GPIO_Speed=GPIO_SPEED_FREQ_VERY_HIGH
PC2_C.Mode=Full_Duplex_Master
PC2_C.Signal=SPI2_MISO
PC3_C.GPIO_Label=BMI088_GYRO__SPI_CS
PC3_C.GPIO_Speed=GPIO_SPEED_FREQ_VERY_HIGH
PC3_C.PinState=GPIO_PIN_SET
PC3_C.Signal=GPIO_Output
PC4.GPIO_Label=BAT_VOLTAGE__ADC
PC4.Signal=ADCx_INP4
PD0.Mode=FDCAN_Activate
PD0.Signal=FDCAN1_RX
PD1.Mode=FDCAN_Activate
PD1.Signal=FDCAN1_TX
PD11.GPIO_Label=W25Q64_SI__OSPI_IO0
PD11.Mode=OCTOSPI2_IOL_Port1L
PD11.Signal=OCTOSPIM_P1_IO0
PD12.Mode=FDCAN_Activate
PD12.Signal=FDCAN3_RX
PD13.Mode=FDCAN_Activate
PD13.Signal=FDCAN3_TX
PD2.GPIO_Label=SBUS_TX__UART_RX
PD2.Mode=Asynchronous
PD2.Signal=UART5_RX
PD4.Mode=Hardware Flow Control (RS485)
PD4.Signal=USART2_DE
PD5.Mode=Asynchronous
PD5.Signal=USART2_TX
PD6.Mode=Asynchronous
PD6.Signal=USART2_RX
PD8.Mode=Asynchronous
PD8.Signal=USART3_TX
PD9.Mode=Asynchronous
PD9.Signal=USART3_RX
PE10.GPIO_Label=BMI088_ACCEL__INTERRUPT
PE10.Signal=GPXTI10
PE11.GPIO_Label=W25Q64_CS__OSPI_NCS
PE11.Mode=OCTOSPI2_Port1_NCS
PE11.Signal=OCTOSPIM_P1_NCS
PE12.GPIO_Label=BMI088_GYRO__INTERRUPT
PE12.Signal=GPXTI12
PE13.Signal=GPIO_Output
PE2.Mode=Asynchronous
PE2.Signal=USART10_RX
PE3.Mode=Asynchronous
PE3.Signal=USART10_TX
PE7.Mode=Asynchronous
PE7.Signal=UART7_RX
PE8.Mode=Asynchronous
PE8.Signal=UART7_TX
PE9.Signal=GPIO_Output
PH0-OSC_IN.Mode=HSE-External-Oscillator
PH0-OSC_IN.Signal=RCC_OSC_IN
PH1-OSC_OUT.Mode=HSE-External-Oscillator
PH1-OSC_OUT.Signal=RCC_OSC_OUT
ProjectManager.HeapSize=0x4000
ProjectManager.StackSize=0x8000
ProjectManager.TargetToolchain=CMake
RCC.ADCCLockSelection=RCC_ADCCLKSOURCE_CLKP
RCC.ADCFreq_Value=24000000
RCC.APB1Freq_Value=120000000
RCC.APB2Freq_Value=120000000
RCC.APB3Freq_Value=120000000
RCC.APB4Freq_Value=120000000
RCC.CKPERSourceSelection=RCC_CLKPSOURCE_HSE
RCC.CortexFreq_Value=480000000
RCC.D1PPRE=RCC_APB3_DIV2
RCC.D2PPRE1=RCC_APB1_DIV2
RCC.D2PPRE2=RCC_APB2_DIV2
RCC.D3PPRE=RCC_APB4_DIV2
RCC.DIVM1=2
RCC.DIVM2=12
RCC.DIVM3=24
RCC.DIVN1=40
RCC.DIVN2=100
RCC.DIVN3=160
RCC.DIVP1=1
RCC.DIVQ1=4
RCC.DIVQ2=4
RCC.HCLKFreq_Value=240000000
RCC.HPRE=RCC_HCLK_DIV2
RCC.HSE_VALUE=24000000
RCC.PLL2FRACN=0
RCC.PLLFRACN=0
RCC.PLLSourceVirtual=RCC_PLLSOURCE_HSE
RCC.SPI123CLockSelection=RCC_SPI123CLKSOURCE_PLL3
RCC.SPI6CLockSelection=RCC_SPI6CLKSOURCE_PLL2
RCC.SYSCLKFreq_VALUE=480000000
RCC.SYSCLKSource=RCC_SYSCLKSOURCE_PLLCLK
RCC.USBCLockSelection=RCC_USBCLKSOURCE_HSI48
RCC.USBFreq_Value=48000000
SH.ADCx_INP4.0=ADC1_INP4,IN4-Single-Ended
SH.S_TIM12_CH2.0=TIM12_CH2,PWM Generation2 CH2
SH.S_TIM3_CH4.0=TIM3_CH4,PWM Generation4 CH4
SPI2.BaudRatePrescaler=SPI_BAUDRATEPRESCALER_8
SPI2.CLKPhase=SPI_PHASE_2EDGE
SPI2.CLKPolarity=SPI_POLARITY_HIGH
SPI2.CalculateBaudRate=10.0 MBits/s
SPI2.DataSize=SPI_DATASIZE_8BIT
SPI2.Direction=SPI_DIRECTION_2LINES
SPI2.Mode=SPI_MODE_MASTER
SPI2.VirtualType=VM_MASTER
SPI6.BaudRatePrescaler=SPI_BAUDRATEPRESCALER_8
SPI6.CLKPolarity=SPI_POLARITY_LOW
SPI6.CalculateBaudRate=6.25 MBits/s
SPI6.DataSize=SPI_DATASIZE_8BIT
SPI6.Direction=SPI_DIRECTION_2LINES_TXONLY
SPI6.FirstBit=SPI_FIRSTBIT_MSB
SPI6.Mode=SPI_MODE_MASTER
SPI6.VirtualType=VM_MASTER
STMicroelectronics.X-CUBE-ALGOBUILD.1.4.0.LibraryCcDSPOoLibraryJjDSPOoLibrary=true
TIM12.Channel-PWM\ Generation2\ CH2=TIM_CHANNEL_2
TIM12.OC2Preload_PWM=DISABLE
TIM12.Period=250-1
TIM12.Prescaler=240-1
TIM3.Channel-PWM\ Generation4\ CH4=TIM_CHANNEL_4
TIM3.Period=10000-1
TIM3.Prescaler=240-1
TIM4.Period=10-1
TIM4.Prescaler=240-1
TIM5.Period=3600000000-1
TIM5.Prescaler=240-1
TIM6.Period=10000-1
TIM6.Prescaler=24000-1
TIM7.Period=1000-1
TIM7.Prescaler=240-1
TIM8.Period=125-1
TIM8.Prescaler=240-1
UART5.BaudRate=100000
UART5.Mode=MODE_RX
UART5.Parity=PARITY_EVEN
UART5.StopBits=UART_STOPBITS_2
UART5.WordLength=WORDLENGTH_9B
USART1.BaudRate=921600
USART1.VirtualMode-Asynchronous=VM_ASYNC
USART10.VirtualMode=VM_ASYNC
USART2.BaudRate=1000000
USART2.VirtualMode-Asynchronous=VM_ASYNC
USART2.VirtualMode-Hardware\ Flow\ Control\ (RS485)=VM_ASYNC
USART3.BaudRate=1000000
USART3.VirtualMode-Asynchronous=VM_ASYNC
USART3.VirtualMode-Hardware\ Flow\ Control\ (RS485)=VM_ASYNC
USB_DEVICE.CLASS_NAME_HS=CDC
USB_DEVICE.MANUFACTURER_STRING=DM_MC02_test_FS
USB_DEVICE.PRODUCT_STRING_CDC_HS=DM_MC02_test_HS
USB_DEVICE.USBD_LPM_ENABLED=1
USB_DEVICE.USBD_MAX_NUM_INTERFACES=1
USB_DEVICE.USBD_SELF_POWERED=1
USB_DEVICE.VirtualMode=Cdc
USB_DEVICE.VirtualModeHS=Cdc_HS
USB_OTG_HS.VirtualMode-Device_Only_FS=Device_Only_FS
USB_OTG_HS.dma_enable-Device_Only_FS=DISABLE
VP_CORDIC_VS_CORDIC.Mode=CORDIC_Activate
VP_FREERTOS_VS_CMSIS_V2.Mode=CMSIS_V2
VP_IWDG1_VS_IWDG.Mode=IWDG_Activate
VP_MEMORYMAP_VS_MEMORYMAP.Mode=CurAppReg
VP_OCTOSPI2_VS_octo.Mode=octo_mode
VP_STMicroelectronics.X-CUBE-ALGOBUILD_VS_DSPOoLibraryJjLibrary_1.4.0_1.4.0.Mode=DSPOoLibraryJjLibrary
VP_TIM4_VS_ClockSourceINT.Mode=Internal
VP_TIM5_VS_ClockSourceINT.Mode=Internal
VP_TIM6_VS_ClockSourceINT.Mode=Enable_Timer
VP_TIM7_VS_ClockSourceINT.Mode=Enable_Timer
VP_TIM8_VS_ClockSourceINT.Mode=Internal
VP_USB_DEVICE_VS_USB_DEVICE_CDC_HS.Mode=CDC_HS
board=custom

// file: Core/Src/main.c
/* USER CODE BEGIN Header */
/**
  ******************************************************************************
  * @file           : main.c
  * @brief          : Main program body
  ******************************************************************************
  * @attention
  *
  * Copyright (c) 2025 STMicroelectronics.
  * All rights reserved.
  *
  * This software is licensed under terms that can be found in the LICENSE file
  * in the root directory of this software component.
  * If no LICENSE file comes with this software, it is provided AS-IS.
  *
  ******************************************************************************
  */
/* USER CODE END Header */
#include "main.h"
#include "cmsis_os.h"
#include "adc.h"
#include "cordic.h"
#include "dma.h"
#include "fdcan.h"
#include "iwdg.h"
#include "mdma.h"
#include "octospi.h"
#include "spi.h"
#include "tim.h"
#include "usart.h"
#include "usb_device.h"
#include "gpio.h"

void SystemClock_Config(void);
void PeriphCommonClock_Config(void);
void MX_FREERTOS_Init(void);

int main(void)
{

  /* Enable the CPU Cache */

  /* Enable I-Cache---------------------------------------------------------*/
  SCB_EnableICache();

  /* MCU Configuration--------------------------------------------------------*/

  /* Reset of all peripherals, Initializes the Flash interface and the Systick. */
  HAL_Init();

  /* Configure the system clock */
  SystemClock_Config();

  /* Configure the peripherals common clocks */
  PeriphCommonClock_Config();

  /* Initialize all configured peripherals */
  MX_GPIO_Init();
  MX_DMA_Init();
  MX_MDMA_Init();
  MX_ADC1_Init();
  MX_FDCAN1_Init();
  MX_FDCAN2_Init();
  MX_FDCAN3_Init();
  MX_USART1_UART_Init();
  MX_USART2_UART_Init();
  MX_USART3_UART_Init();
  MX_UART5_Init();
  MX_UART7_Init();
  MX_USART10_UART_Init();
  MX_SPI2_Init();
  MX_SPI6_Init();
  MX_IWDG1_Init();
  MX_TIM3_Init();
  MX_TIM5_Init();
  MX_TIM6_Init();
  MX_TIM12_Init();
  MX_TIM7_Init();
  MX_TIM8_Init();
  MX_CORDIC_Init();
  MX_OCTOSPI2_Init();
  MX_TIM4_Init();

  /* Init scheduler */
  osKernelInitialize();  /* Call init function for freertos objects (in cmsis_os2.c) */
  MX_FREERTOS_Init();

  /* Start scheduler */
  osKernelStart();

  /* We should never get here as control is now taken by the scheduler */

  /* Infinite loop */
    while (1)
    {

    }
}

void SystemClock_Config(void)
{
  RCC_OscInitTypeDef RCC_OscInitStruct = {0};
  RCC_ClkInitTypeDef RCC_ClkInitStruct = {0};

  /** Supply configuration update enable
  */
  HAL_PWREx_ConfigSupply(PWR_LDO_SUPPLY);

  /** Configure the main internal regulator output voltage
  */
  __HAL_PWR_VOLTAGESCALING_CONFIG(PWR_REGULATOR_VOLTAGE_SCALE0);

  while(!__HAL_PWR_GET_FLAG(PWR_FLAG_VOSRDY)) {}

  /** Initializes the RCC Oscillators according to the specified parameters
  * in the RCC_OscInitTypeDef structure.
  */
  RCC_OscInitStruct.OscillatorType = RCC_OSCILLATORTYPE_HSI48|RCC_OSCILLATORTYPE_LSI
                              |RCC_OSCILLATORTYPE_HSE;
  RCC_OscInitStruct.HSEState = RCC_HSE_ON;
  RCC_OscInitStruct.LSIState = RCC_LSI_ON;
  RCC_OscInitStruct.HSI48State = RCC_HSI48_ON;
  RCC_OscInitStruct.PLL.PLLState = RCC_PLL_ON;
  RCC_OscInitStruct.PLL.PLLSource = RCC_PLLSOURCE_HSE;
  RCC_OscInitStruct.PLL.PLLM = 2;
  RCC_OscInitStruct.PLL.PLLN = 40;
  RCC_OscInitStruct.PLL.PLLP = 1;
  RCC_OscInitStruct.PLL.PLLQ = 4;
  RCC_OscInitStruct.PLL.PLLR = 2;
  RCC_OscInitStruct.PLL.PLLRGE = RCC_PLL1VCIRANGE_3;
  RCC_OscInitStruct.PLL.PLLVCOSEL = RCC_PLL1VCOWIDE;
  RCC_OscInitStruct.PLL.PLLFRACN = 0;
  if (HAL_RCC_OscConfig(&RCC_OscInitStruct) != HAL_OK)
  {
    Error_Handler();
  }

  /** Initializes the CPU, AHB and APB buses clocks
  */
  RCC_ClkInitStruct.ClockType = RCC_CLOCKTYPE_HCLK|RCC_CLOCKTYPE_SYSCLK
                              |RCC_CLOCKTYPE_PCLK1|RCC_CLOCKTYPE_PCLK2
                              |RCC_CLOCKTYPE_D3PCLK1|RCC_CLOCKTYPE_D1PCLK1;
  RCC_ClkInitStruct.SYSCLKSource = RCC_SYSCLKSOURCE_PLLCLK;
  RCC_ClkInitStruct.SYSCLKDivider = RCC_SYSCLK_DIV1;
  RCC_ClkInitStruct.AHBCLKDivider = RCC_HCLK_DIV2;
  RCC_ClkInitStruct.APB3CLKDivider = RCC_APB3_DIV2;
  RCC_ClkInitStruct.APB1CLKDivider = RCC_APB1_DIV2;
  RCC_ClkInitStruct.APB2CLKDivider = RCC_APB2_DIV2;
  RCC_ClkInitStruct.APB4CLKDivider = RCC_APB4_DIV2;

  if (HAL_RCC_ClockConfig(&RCC_ClkInitStruct, FLASH_LATENCY_3) != HAL_OK)
  {
    Error_Handler();
  }
}

void PeriphCommonClock_Config(void)
{
  RCC_PeriphCLKInitTypeDef PeriphClkInitStruct = {0};

  /** Initializes the peripherals clock
  */
  PeriphClkInitStruct.PeriphClockSelection = RCC_PERIPHCLK_CKPER;
  PeriphClkInitStruct.CkperClockSelection = RCC_CLKPSOURCE_HSE;
  if (HAL_RCCEx_PeriphCLKConfig(&PeriphClkInitStruct) != HAL_OK)
  {
    Error_Handler();
  }
}

void Error_Handler(void)
{
    __disable_irq();
    while (1)
    {
    }
}

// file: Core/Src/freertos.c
/* USER CODE BEGIN Header */
/**
  ******************************************************************************
  * File Name          : freertos.c
  * Description        : Code for freertos applications
  ******************************************************************************
  * @attention
  *
  * Copyright (c) 2026 STMicroelectronics.
  * All rights reserved.
  *
  * This software is licensed under terms that can be found in the LICENSE file
  * in the root directory of this software component.
  * If no LICENSE file comes with this software, it is provided AS-IS.
  *
  ******************************************************************************
  */
/* USER CODE END Header */

#include "FreeRTOS.h"
#include "task.h"
#include "main.h"
#include "cmsis_os.h"

/* USER CODE BEGIN Includes */

#include "tsk_config_and_callback.h"
#include "ChassisTask.h"
#include "ClimbingTask2.h"
#include "DrawKFS_Task.h"
#include "ClampingTask.h"
#include "Uart_Task.h"

/* USER CODE END Includes */

/* Definitions for MAVLinkTask */
osThreadId_t MAVLinkTaskHandle;
const osThreadAttr_t MAVLinkTask_attributes = {
  .name = "MAVLinkTask",
  .stack_size = 512 * 4,
  .priority = (osPriority_t) osPriorityNormal,
};
/* Definitions for ClimbingTask */
osThreadId_t ClimbingTaskHandle;
const osThreadAttr_t ClimbingTask_attributes = {
  .name = "ClimbingTask",
  .stack_size = 512 * 4,
  .priority = (osPriority_t) osPriorityNormal,
};
/* Definitions for DrawKFSTask */
osThreadId_t DrawKFSTaskHandle;
const osThreadAttr_t DrawKFSTask_attributes = {
  .name = "DrawKFSTask",
  .stack_size = 512 * 4,
  .priority = (osPriority_t) osPriorityNormal,
};
/* Definitions for ClampingTask */
osThreadId_t ClampingTaskHandle;
const osThreadAttr_t ClampingTask_attributes = {
  .name = "ClampingTask",
  .stack_size = 128 * 4,
  .priority = (osPriority_t) osPriorityNormal,
};
/* Definitions for ChassisTask */
osThreadId_t ChassisTaskHandle;
const osThreadAttr_t ChassisTask_attributes = {
  .name = "ChassisTask",
  .stack_size = 512 * 4,
  .priority = (osPriority_t) osPriorityNormal,
};

/* USER CODE BEGIN FunctionPrototypes */
osSemaphoreId_t uartSemaphoreHandle;
const osSemaphoreAttr_t uartSemaphore_attributes = {
  .name = "uartSemaphore"
};
/* USER CODE END FunctionPrototypes */

void StartMAVLinkTask(void *argument);
void StartTaskClimbing(void *argument);
void StartTaskDrawKFS(void *argument);
void StartTaskClamping(void *argument);
void StartTaskChassis(void *argument);

void MX_FREERTOS_Init(void); /* (MISRA C 2004 rule 8.1) */

void MX_FREERTOS_Init(void) {
  /* USER CODE BEGIN Init */

  Task_Init();

  /* USER CODE END Init */

  /* Create the thread(s) */
  /* creation of MAVLinkTask */
  MAVLinkTaskHandle = osThreadNew(StartMAVLinkTask, NULL, &MAVLinkTask_attributes);

  /* creation of ClimbingTask */
  ClimbingTaskHandle = osThreadNew(StartTaskClimbing, NULL, &ClimbingTask_attributes);

  /* creation of DrawKFSTask */
  DrawKFSTaskHandle = osThreadNew(StartTaskDrawKFS, NULL, &DrawKFSTask_attributes);

  /* creation of ClampingTask */
  ClampingTaskHandle = osThreadNew(StartTaskClamping, NULL, &ClampingTask_attributes);

  /* creation of ChassisTask */
  ChassisTaskHandle = osThreadNew(StartTaskChassis, NULL, &ChassisTask_attributes);

}

void StartMAVLinkTask(void *argument)
{
  /* USER CODE BEGIN StartMAVLinkTask */
  UartTask();
  /* Infinite loop */
  for(;;)
  {
    osDelay(1);
  }
  /* USER CODE END StartMAVLinkTask */
}

void StartTaskClimbing(void *argument)
{
  /* USER CODE BEGIN StartTaskClimbing */
  /* Infinite loop */
  ClimbingTask();
  for(;;)
  {
    osDelay(1);
  }
  /* USER CODE END StartTaskClimbing */
}

void StartTaskDrawKFS(void *argument)
{
  /* USER CODE BEGIN StartTaskDrawKFS */
  /* Infinite loop */
  DrawKFS_Task();
  for(;;)
  {
    osDelay(1);
  }
  /* USER CODE END StartTaskDrawKFS */
}

void StartTaskClamping(void *argument)
{
  /* USER CODE BEGIN StartTaskClamping */
  /* Infinite loop */
  ClampingTask();
  for(;;)
  {
    osDelay(1);
  }
  /* USER CODE END StartTaskClamping */
}

void StartTaskChassis(void *argument)
{
  /* USER CODE BEGIN StartTaskChassis */
  /* Infinite loop */
  Chassis_Task(argument);
  for(;;)
  {
    osDelay(1);
  }
  /* USER CODE END StartTaskChassis */
}
